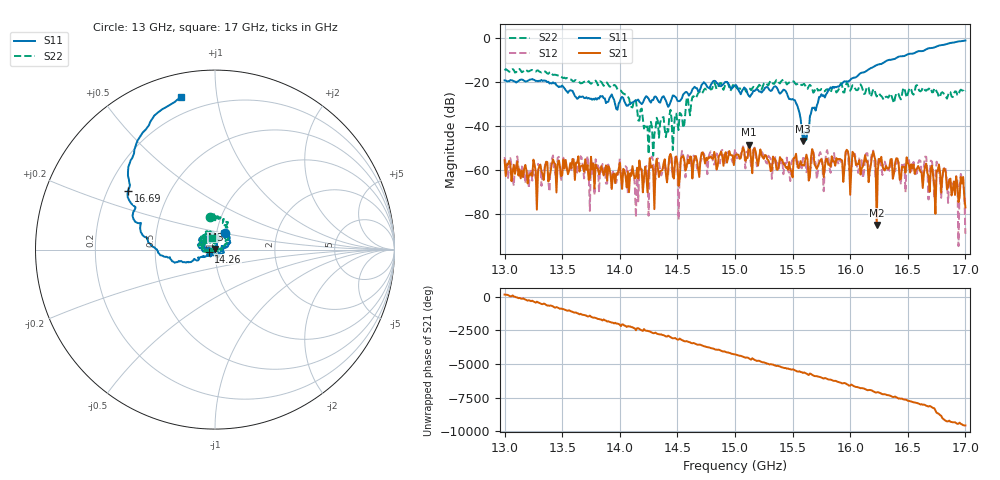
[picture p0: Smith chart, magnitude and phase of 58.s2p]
!Keysight Technologies,P9374A,MY57211807,A.19.30.04
!Date: Friday, May 01, 2026 14:16:11
!Correction: S11(C  2-Port  )
!S21(C  2-Port  )
!S12(C  2-Port  )
!S22(C  2-Port  )
!S2P File: Measurements: S11, S21, S12, S22:
# Hz S  RI  R 50
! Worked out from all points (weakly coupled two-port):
!   401 points, 13 GHz to 17 GHz, reference 50 ohm
!   highest |S21| = -48.45 dB at 15.12 GHz (marker M1); lowest = -84.7 dB at 16.23 GHz (marker M2)
!   lowest |S11| = -46.7 dB at 15.59 GHz (marker M3), VSWR 1.01, Z = 50.2 + j0.41 ohm
!   |S11| at or under -10 dB: start of sweep to 16.34 GHz
!   |S22| runs from -53.4 to -14.1 dB; largest |S21 - S12| = 0.0016
!   S11 on the Smith chart (normalised r, x): 13 GHz: 1.10, +0.21; 14.26 GHz: 0.93, -0.02; 16.69 GHz: 0.28, +0.28; 17 GHz: 0.11, +0.80
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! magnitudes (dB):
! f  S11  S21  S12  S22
! 13 GHz  -19.3  -55.4  -54.0  -14.8
! 13.2 GHz  -19.5  -66.0  -60.4  -15.2
! 13.67 GHz  -26.7  -57.9  -54.4  -20.5
! 13.97 GHz  -32.2  -61.4  -65.6  -22.2
! 14.11 GHz  -29.3  -58.1  -60.0  -31.5
! 14.14 GHz  -28.3  -63.1  -81.4  -28.7
! 14.26 GHz  -28.7  -54.5  -55.6  -39.5
! 14.34 GHz  -29.1  -63.1  -56.7  -45.3
! 14.48 GHz  -26.7  -55.8  -54.1  -34.6
! 14.75 GHz  -21.3  -54.3  -55.8  -23.4
! 15 GHz  -21.5  -53.5  -50.4  -21.5
! 15.12 GHz  -26.3  -48.5  -49.7  -23.3
! 15.43 GHz  -23.6  -57.1  -56.6  -19.0
! 15.53 GHz  -29.6  -52.5  -55.0  -21.1
! 15.59 GHz  -46.7  -57.6  -54.4  -21.2
! 15.67 GHz  -31.7  -50.4  -54.2  -23.1
! 16.2 GHz  -13.2  -51.5  -51.0  -23.3
! 16.23 GHz  -12.4  -84.7  -60.3  -26.6
! 16.34 GHz  -10.0  -58.8  -60.2  -26.2
! 16.69 GHz  -4.7  -69.7  -60.9  -22.6
! 16.97 GHz  -1.5  -66.0  -63.6  -23.8
! 17 GHz  -1.2  -76.8  -88.8  -23.9
